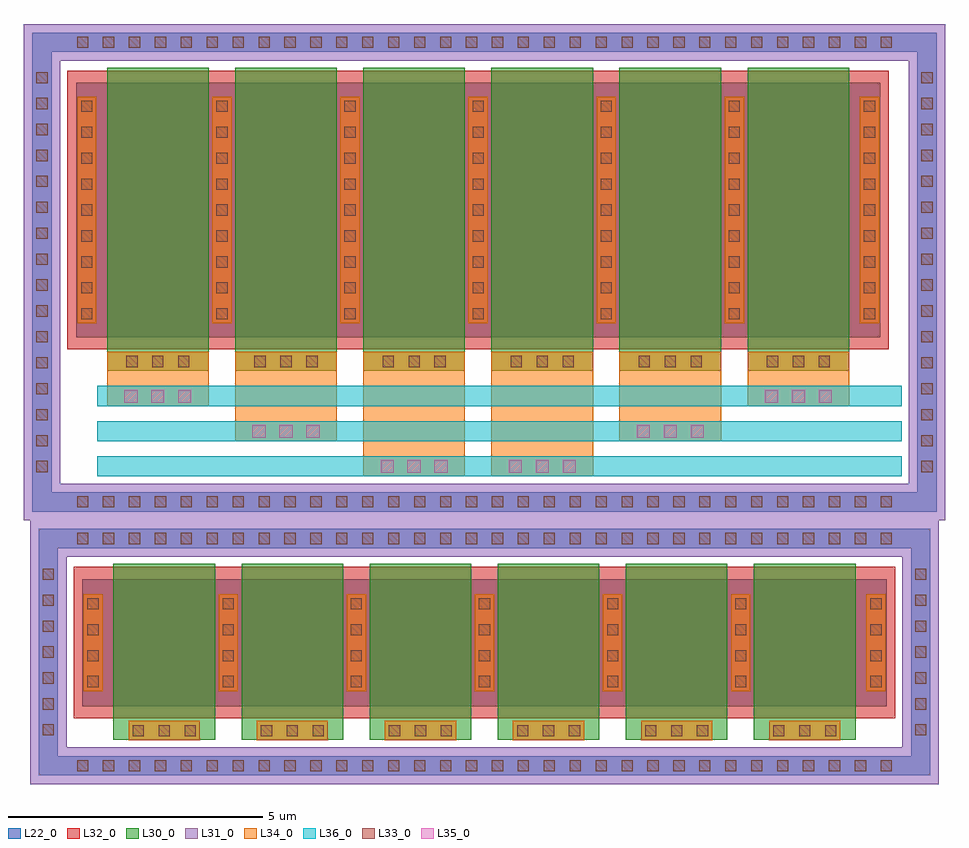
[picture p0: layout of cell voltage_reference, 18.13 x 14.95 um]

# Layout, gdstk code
import gdstk
lib = gdstk.Library(unit=1e-6, precision=5e-09)
def R(c, l, rs):  # rectangles x0, y0, x1, y1
    for r in rs: c.add(gdstk.rectangle(r[:2], r[2:], *l))
def A(c, l, x, y, w, h, nx, ny, dx, dy):  # array of equal rectangles
    R(c, l, [(x+i*dx, y+j*dy, x+i*dx+w, y+j*dy+h) for i in range(nx) for j in range(ny)])
def P(c, l, *ps):  # polygons
    for p in ps: c.add(gdstk.Polygon(p, *l))
L22_0 = (22, 0)
L30_0 = (30, 0)
L31_0 = (31, 0)
L32_0 = (32, 0)
L33_0 = (33, 0)
L34_0 = (34, 0)
L35_0 = (35, 0)
L36_0 = (36, 0)

nfet = lib.new_cell('nfet')
R(nfet, L22_0, [(-0.42,0,0,5), (0,0,14.98,5), (14.98,0,15.4,5)])
P(nfet, L22_0, [(-1.28,-3.43),(-1.28,5.61),(-0.9,5.61),(-0.9,-3.05),(16.13,-3.05),(16.13,5.61),(-1.28,5.61),(-1.28,5.99),(16.51,5.99),(16.51,-3.43)])
A(nfet, L30_0, 0.19, -0.66, 2, 0.36, 6, 1, 2.52, 0)
A(nfet, L30_0, 0.19, -0.3, 2, 5.6, 6, 1, 2.52, 0)
P(nfet, L31_0, [(-1.45,-3.6),(-1.45,5.44),(-0.73,5.44),(-0.73,-2.88),(15.96,-2.88),(15.96,5.44),(-1.45,5.44),(-1.45,6.16),(16.68,6.16),(16.68,-3.6)])
R(nfet, L32_0, [(-0.59,-0.24,15.57,5.24)])
A(nfet, L33_0, -0.4, -3.35, 0.22, 0.22, 32, 2, 0.51, 9.04)
A(nfet, L33_0, -1.2, -2.655, 0.22, 0.22, 1, 16, 0, 0.51)
A(nfet, L33_0, 16.21, -2.655, 0.22, 0.22, 1, 16, 0, 0.51)
A(nfet, L33_0, 0.57, -0.59, 0.22, 0.22, 3, 1, 0.51, 0)
A(nfet, L33_0, 3.09, -0.59, 0.22, 0.22, 3, 1, 0.51, 0)
A(nfet, L33_0, 5.61, -0.59, 0.22, 0.22, 3, 1, 0.51, 0)
A(nfet, L33_0, 8.13, -0.59, 0.22, 0.22, 3, 1, 0.51, 0)
A(nfet, L33_0, 10.65, -0.59, 0.22, 0.22, 3, 1, 0.51, 0)
A(nfet, L33_0, 13.17, -0.59, 0.22, 0.22, 3, 1, 0.51, 0)
A(nfet, L33_0, -0.32, 0.35, 0.22, 0.22, 1, 9, 0, 0.51)
A(nfet, L33_0, 2.34, 0.35, 0.22, 0.22, 5, 9, 2.52, 0.51)
A(nfet, L33_0, 15.08, 0.35, 0.22, 0.22, 1, 9, 0, 0.51)
A(nfet, L34_0, 0.49, -0.67, 1.4, 0.38, 6, 1, 2.52, 0)
A(nfet, L34_0, 2.26, 0.27, 0.38, 4.46, 5, 1, 2.52, 0)
R(nfet, L34_0, [(5.23,-2.74,7.23,-0.29), (7.75,-2.74,9.75,-0.29), (2.71,-2.05,4.71,-0.29), (10.27,-2.05,12.27,-0.29), (0.19,-1.36,2.19,-0.29), (12.79,-1.36,14.79,-0.29), (-0.4,0.27,-0.02,4.73), (15,0.27,15.38,4.73)])
A(nfet, L35_0, 5.57, -2.67, 0.26, 0.26, 3, 1, 0.53, 0)
A(nfet, L35_0, 8.09, -2.67, 0.26, 0.26, 3, 1, 0.53, 0)
A(nfet, L35_0, 3.05, -1.98, 0.26, 0.26, 3, 1, 0.53, 0)
A(nfet, L35_0, 10.61, -1.98, 0.26, 0.26, 3, 1, 0.53, 0)
A(nfet, L35_0, 0.53, -1.29, 0.26, 0.26, 3, 1, 0.53, 0)
A(nfet, L35_0, 13.13, -1.29, 0.26, 0.26, 3, 1, 0.53, 0)
A(nfet, L36_0, 0, -2.74, 15.82, 0.4, 1, 3, 0, 0.69)

nfet_2 = lib.new_cell('nfet$2')
R(nfet_2, L22_0, [(-0.42,0,0,2.5), (0,0,14.98,2.5), (14.98,0,15.4,2.5)])
P(nfet_2, L22_0, [(-1.28,-1.36),(-1.28,3.11),(-0.9,3.11),(-0.9,-0.98),(15.88,-0.98),(15.88,3.11),(-1.28,3.11),(-1.28,3.49),(16.26,3.49),(16.26,-1.36)])
A(nfet_2, L30_0, 0.19, -0.66, 2, 0.36, 6, 1, 2.52, 0)
A(nfet_2, L30_0, 0.19, -0.3, 2, 3.1, 6, 1, 2.52, 0)
P(nfet_2, L31_0, [(-1.45,-1.53),(-1.45,2.94),(-0.73,2.94),(-0.73,-0.81),(15.71,-0.81),(15.71,2.94),(-1.45,2.94),(-1.45,3.66),(16.43,3.66),(16.43,-1.53)])
R(nfet_2, L32_0, [(-0.59,-0.24,15.57,2.74)])
A(nfet_2, L33_0, -0.525, -1.28, 0.22, 0.22, 32, 2, 0.51, 4.47)
A(nfet_2, L33_0, 0.57, -0.59, 0.22, 0.22, 3, 1, 0.51, 0)
A(nfet_2, L33_0, 3.09, -0.59, 0.22, 0.22, 3, 1, 0.51, 0)
A(nfet_2, L33_0, 5.61, -0.59, 0.22, 0.22, 3, 1, 0.51, 0)
A(nfet_2, L33_0, 8.13, -0.59, 0.22, 0.22, 3, 1, 0.51, 0)
A(nfet_2, L33_0, 10.65, -0.59, 0.22, 0.22, 3, 1, 0.51, 0)
A(nfet_2, L33_0, 13.17, -0.59, 0.22, 0.22, 3, 1, 0.51, 0)
A(nfet_2, L33_0, -1.2, -0.575, 0.22, 0.22, 1, 7, 0, 0.51)
A(nfet_2, L33_0, 15.96, -0.575, 0.22, 0.22, 1, 7, 0, 0.51)
A(nfet_2, L33_0, -0.32, 0.375, 0.22, 0.22, 1, 4, 0, 0.51)
A(nfet_2, L33_0, 2.34, 0.375, 0.22, 0.22, 5, 4, 2.52, 0.51)
A(nfet_2, L33_0, 15.08, 0.375, 0.22, 0.22, 1, 4, 0, 0.51)
A(nfet_2, L34_0, 0.49, -0.67, 1.4, 0.38, 6, 1, 2.52, 0)
A(nfet_2, L34_0, 2.26, 0.295, 0.38, 1.91, 5, 1, 2.52, 0)
R(nfet_2, L34_0, [(-0.4,0.295,-0.02,2.205), (15,0.295,15.38,2.205)])

voltage_reference = lib.new_cell('voltage_reference')
voltage_reference.add(gdstk.Reference(nfet, (9.44,21.615)))
voltage_reference.add(gdstk.Reference(nfet_2, (9.565,14.355)))

lib.write_gds('voltage_reference.gds')
